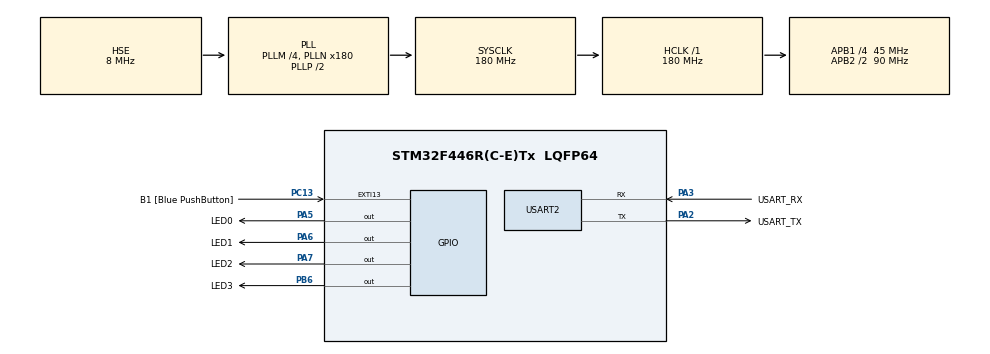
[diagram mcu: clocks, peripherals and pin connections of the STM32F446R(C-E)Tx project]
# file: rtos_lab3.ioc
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FREERTOS.INCLUDE_vTaskDelayUntil=1
FREERTOS.Tasks01=defaultTask,0,512,StartDefaultTask,Default,NULL,Dynamic,NULL,NULL
FREERTOS.configCHECK_FOR_STACK_OVERFLOW=2
FREERTOS.configENABLE_FPU=1
FREERTOS.configTOTAL_HEAP_SIZE=65536
FREERTOS.configUSE_IDLE_HOOK=1
FREERTOS.configUSE_NEWLIB_REENTRANT=1
FREERTOS.configUSE_POSIX_ERRNO=1
FREERTOS.configUSE_TICK_HOOK=1
Mcu.Family=STM32F4
Mcu.Name=STM32F446R(C-E)Tx
Mcu.Package=LQFP64
NVIC.EXTI15_10_IRQn=true\:5\:0\:false\:false\:true\:true\:true\:true\:true
NVIC.PriorityGroup=NVIC_PRIORITYGROUP_4
NVIC.TIM8_TRG_COM_TIM14_IRQn=true\:15\:0\:false\:false\:true\:false\:false\:true\:true
NVIC.TimeBase=TIM8_TRG_COM_TIM14_IRQn
NVIC.TimeBaseIP=TIM14
PA13.GPIO_Label=TMS
PA13.Mode=Trace_Asynchronous_SW
PA13.Signal=SYS_JTMS-SWDIO
PA14.GPIO_Label=TCK
PA14.Mode=Trace_Asynchronous_SW
PA14.Signal=SYS_JTCK-SWCLK
PA2.GPIO_Label=USART_TX
PA2.Mode=Asynchronous
PA2.Signal=USART2_TX
PA3.GPIO_Label=USART_RX
PA3.Mode=Asynchronous
PA3.Signal=USART2_RX
PA5.GPIO_Label=LED0
PA5.Signal=GPIO_Output
PA6.GPIO_Label=LED1
PA6.Signal=GPIO_Output
PA7.GPIO_Label=LED2
PA7.Signal=GPIO_Output
PB3.GPIO_Label=SWO
PB3.Mode=Trace_Asynchronous_SW
PB3.Signal=SYS_JTDO-SWO
PB6.GPIO_Label=LED3
PB6.Signal=GPIO_Output
PC13.GPIO_Label=B1 [Blue PushButton]
PC13.GPIO_ModeDefaultEXTI=GPIO_MODE_IT_FALLING
PC13.GPIO_PuPd=GPIO_PULLUP
PC13.Signal=GPXTI13
PC14-OSC32_IN.Mode=LSE-External-Oscillator
PC14-OSC32_IN.Signal=RCC_OSC32_IN
PC15-OSC32_OUT.Mode=LSE-External-Oscillator
PC15-OSC32_OUT.Signal=RCC_OSC32_OUT
PH0-OSC_IN.Mode=HSE-External-Oscillator
PH0-OSC_IN.Signal=RCC_OSC_IN
PH1-OSC_OUT.Mode=HSE-External-Oscillator
PH1-OSC_OUT.Signal=RCC_OSC_OUT
ProjectManager.HeapSize=0x200
ProjectManager.StackSize=0x400
ProjectManager.TargetToolchain=STM32CubeIDE
RCC.48MHZClocksFreq_Value=84000000
RCC.AHBFreq_Value=180000000
RCC.APB1CLKDivider=RCC_HCLK_DIV4
RCC.APB1Freq_Value=45000000
RCC.APB1TimFreq_Value=90000000
RCC.APB2CLKDivider=RCC_HCLK_DIV2
RCC.APB2Freq_Value=90000000
RCC.APB2TimFreq_Value=180000000
RCC.CortexFreq_Value=180000000
RCC.FLatency-AdvancedSettings=FLASH_LATENCY_5
RCC.HCLKFreq_Value=180000000
RCC.HSE_VALUE=8000000
RCC.HSI_VALUE=16000000
RCC.PLLM=4
RCC.PLLN=180
RCC.PLLSourceVirtual=RCC_PLLSOURCE_HSE
RCC.SYSCLKFreq_VALUE=180000000
RCC.SYSCLKSource=RCC_SYSCLKSOURCE_PLLCLK
RCC.USBFreq_Value=180000000
RCC.VCOOutputFreq_Value=360000000
USART2.VirtualMode=VM_ASYNC
VP_FREERTOS_VS_CMSIS_V1.Mode=CMSIS_V1
VP_SYS_VS_tim14.Mode=TIM14
board=NUCLEO-F446RE

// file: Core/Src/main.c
/* USER CODE BEGIN Header */
/**
  ******************************************************************************
  * @file           : main.c
  * @brief          : Main program body
  ******************************************************************************
  * @attention
  *
  * Copyright (c) 2026 STMicroelectronics.
  * All rights reserved.
  *
  * This software is licensed under terms that can be found in the LICENSE file
  * in the root directory of this software component.
  * If no LICENSE file comes with this software, it is provided AS-IS.
  *
  ******************************************************************************
  */
/* USER CODE END Header */
#include "main.h"
#include "cmsis_os.h"
#include "usart.h"
#include "gpio.h"

void SystemClock_Config(void);
void MX_FREERTOS_Init(void);

/* USER CODE BEGIN 0 */
int __io_putchar(int ch){
  HAL_UART_Transmit(&huart2, (uint8_t *)&ch, 1, 0xFFFF);
  return ch;
}

//int __io_putchar(int ch){
//  ITM_SendChar(ch);
//  return ch;
//}

/* USER CODE END 0 */

int main(void)
{

  /* MCU Configuration--------------------------------------------------------*/

  /* Reset of all peripherals, Initializes the Flash interface and the Systick. */
  HAL_Init();

  /* Configure the system clock */
  SystemClock_Config();

  /* Initialize all configured peripherals */
  MX_GPIO_Init();
  MX_USART2_UART_Init();

  /* Call init function for freertos objects (in cmsis_os2.c) */
  MX_FREERTOS_Init();

  /* Start scheduler */
  osKernelStart();

  /* We should never get here as control is now taken by the scheduler */

  /* Infinite loop */
  while (1)
  {

  }
}

void SystemClock_Config(void)
{
  RCC_OscInitTypeDef RCC_OscInitStruct = {0};
  RCC_ClkInitTypeDef RCC_ClkInitStruct = {0};

  /** Configure the main internal regulator output voltage
  */
  __HAL_RCC_PWR_CLK_ENABLE();
  __HAL_PWR_VOLTAGESCALING_CONFIG(PWR_REGULATOR_VOLTAGE_SCALE1);

  /** Initializes the RCC Oscillators according to the specified parameters
  * in the RCC_OscInitTypeDef structure.
  */
  RCC_OscInitStruct.OscillatorType = RCC_OSCILLATORTYPE_HSE;
  RCC_OscInitStruct.HSEState = RCC_HSE_ON;
  RCC_OscInitStruct.PLL.PLLState = RCC_PLL_ON;
  RCC_OscInitStruct.PLL.PLLSource = RCC_PLLSOURCE_HSE;
  RCC_OscInitStruct.PLL.PLLM = 4;
  RCC_OscInitStruct.PLL.PLLN = 180;
  RCC_OscInitStruct.PLL.PLLP = RCC_PLLP_DIV2;
  RCC_OscInitStruct.PLL.PLLQ = 2;
  RCC_OscInitStruct.PLL.PLLR = 2;
  if (HAL_RCC_OscConfig(&RCC_OscInitStruct) != HAL_OK)
  {
    Error_Handler();
  }

  /** Activate the Over-Drive mode
  */
  if (HAL_PWREx_EnableOverDrive() != HAL_OK)
  {
    Error_Handler();
  }

  /** Initializes the CPU, AHB and APB buses clocks
  */
  RCC_ClkInitStruct.ClockType = RCC_CLOCKTYPE_HCLK|RCC_CLOCKTYPE_SYSCLK
                              |RCC_CLOCKTYPE_PCLK1|RCC_CLOCKTYPE_PCLK2;
  RCC_ClkInitStruct.SYSCLKSource = RCC_SYSCLKSOURCE_PLLCLK;
  RCC_ClkInitStruct.AHBCLKDivider = RCC_SYSCLK_DIV1;
  RCC_ClkInitStruct.APB1CLKDivider = RCC_HCLK_DIV4;
  RCC_ClkInitStruct.APB2CLKDivider = RCC_HCLK_DIV2;

  if (HAL_RCC_ClockConfig(&RCC_ClkInitStruct, FLASH_LATENCY_5) != HAL_OK)
  {
    Error_Handler();
  }
}

void HAL_TIM_PeriodElapsedCallback(TIM_HandleTypeDef *htim)
{
  if (htim->Instance == TIM14)
  {
    HAL_IncTick();
  }
}

void Error_Handler(void)
{
  __disable_irq();
  while (1)
  {
  }
}

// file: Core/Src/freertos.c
/* USER CODE BEGIN Header */
/**
 ******************************************************************************
 * File Name          : freertos.c
 * Description        : Code for freertos applications
 ******************************************************************************
 * @attention
 *
 * Copyright (c) 2026 STMicroelectronics.
 * All rights reserved.
 *
 * This software is licensed under terms that can be found in the LICENSE file
 * in the root directory of this software component.
 * If no LICENSE file comes with this software, it is provided AS-IS.
 *
 ******************************************************************************
 */
/* USER CODE END Header */

#include "FreeRTOS.h"
#include "task.h"
#include "main.h"
#include "cmsis_os.h"

/* USER CODE BEGIN Includes */

#include <stdio.h>
#include <stdlib.h>

/* USER CODE END Includes */

osThreadId defaultTaskHandle;

/* USER CODE BEGIN FunctionPrototypes */
void StartCustomTask0(void const *argument);
void StartCustomTask1(void const *argument);
void StartCustomTask2(void const *argument);
void StartCustomTask3(void const *argument);
void StartCustomTask4(void const *argument);
/* USER CODE END FunctionPrototypes */

void StartDefaultTask(void const *argument);

void MX_FREERTOS_Init(void); /* (MISRA C 2004 rule 8.1) */

/* GetIdleTaskMemory prototype (linked to static allocation support) */
void vApplicationGetIdleTaskMemory(StaticTask_t **ppxIdleTaskTCBBuffer,
		StackType_t **ppxIdleTaskStackBuffer, uint32_t *pulIdleTaskStackSize);

/* Hook prototypes */
void vApplicationIdleHook(void);
void vApplicationTickHook(void);
void vApplicationStackOverflowHook(xTaskHandle xTask, signed char *pcTaskName);

/* USER CODE BEGIN 2 */
__weak void vApplicationIdleHook(void) {
	/* vApplicationIdleHook() will only be called if configUSE_IDLE_HOOK is set
	 to 1 in FreeRTOSConfig.h. It will be called on each iteration of the idle
	 task. It is essential that code added to this hook function never attempts
	 to block in any way (for example, call xQueueReceive() with a block time
	 specified, or call vTaskDelay()). If the application makes use of the
	 vTaskDelete() API function (as this demo application does) then it is also
	 important that vApplicationIdleHook() is permitted to return to its calling
	 function, because it is the responsibility of the idle task to clean up
	 memory allocated by the kernel to any task that has since been deleted. */
}
/* USER CODE END 2 */

/* USER CODE BEGIN 3 */
__weak void vApplicationTickHook(void) {
	/* This function will be called by each tick interrupt if
	 configUSE_TICK_HOOK is set to 1 in FreeRTOSConfig.h. User code can be
	 added here, but the tick hook is called from an interrupt context, so
	 code must not attempt to block, and only the interrupt safe FreeRTOS API
	 functions can be used (those that end in FromISR()). */
}
/* USER CODE END 3 */

/* USER CODE BEGIN 4 */
__weak void vApplicationStackOverflowHook(xTaskHandle xTask,
		signed char *pcTaskName) {
	/* Run time stack overflow checking is performed if
	 configCHECK_FOR_STACK_OVERFLOW is defined to 1 or 2. This hook function is
	 called if a stack overflow is detected. */
}
/* USER CODE END 4 */

/* USER CODE BEGIN GET_IDLE_TASK_MEMORY */
static StaticTask_t xIdleTaskTCBBuffer;
static StackType_t xIdleStack[configMINIMAL_STACK_SIZE];

void vApplicationGetIdleTaskMemory(StaticTask_t **ppxIdleTaskTCBBuffer,
		StackType_t **ppxIdleTaskStackBuffer, uint32_t *pulIdleTaskStackSize) {
	*ppxIdleTaskTCBBuffer = &xIdleTaskTCBBuffer;
	*ppxIdleTaskStackBuffer = &xIdleStack[0];
	*pulIdleTaskStackSize = configMINIMAL_STACK_SIZE;
	/* place for user code */
}
/* USER CODE END GET_IDLE_TASK_MEMORY */

void MX_FREERTOS_Init(void) {

	/* Create the thread(s) */
	/* definition and creation of defaultTask */
	osThreadDef(defaultTask, StartDefaultTask, osPriorityNormal, 0, 512);
	defaultTaskHandle = osThreadCreate(osThread(defaultTask), NULL);

	/* USER CODE BEGIN RTOS_THREADS */
	/* add threads, ... */
	BaseType_t xReturned;
	TaskHandle_t *customTaskHandle = (TaskHandle_t *)pvPortMalloc(5 * sizeof(TaskHandle_t));
	if(customTaskHandle == NULL){
		while(1);
	}

	xReturned = xTaskCreate((TaskFunction_t) StartCustomTask1, "c1",
	configMINIMAL_STACK_SIZE,
	NULL, 5, &customTaskHandle[1]);
	if (xReturned != pdPASS) {
		vTaskDelete(customTaskHandle[1]);
	}

	xReturned = xTaskCreate((TaskFunction_t) StartCustomTask2, "c2",
	configMINIMAL_STACK_SIZE,
	NULL, 5, &customTaskHandle[2]);
	if (xReturned != pdPASS) {
		vTaskDelete(customTaskHandle[2]);
	}

	xReturned = xTaskCreate((TaskFunction_t) StartCustomTask3, "c3",
	configMINIMAL_STACK_SIZE,
	NULL, 5, &customTaskHandle[3]);
	if (xReturned != pdPASS) {
		vTaskDelete(customTaskHandle[3]);
	}

	xReturned = xTaskCreate((TaskFunction_t) StartCustomTask4, "c4",
	configMINIMAL_STACK_SIZE,
	NULL, 5, &customTaskHandle[4]);
	if (xReturned != pdPASS) {
		vTaskDelete(customTaskHandle[4]);
	}

	xReturned = xTaskCreate((TaskFunction_t) StartCustomTask0, "c0",
	configMINIMAL_STACK_SIZE, customTaskHandle, 5, &customTaskHandle[0]);
	if (xReturned != pdPASS) {
		vTaskDelete(customTaskHandle[0]);
	}

	/* USER CODE END RTOS_THREADS */

}

void StartDefaultTask(void const *argument) {
	/* USER CODE BEGIN StartDefaultTask */
	/* Infinite loop */
	for (;;) {
//		osDelay(200);
//		HAL_GPIO_TogglePin(LED0_GPIO_Port, LED0_Pin);
	}
	/* USER CODE END StartDefaultTask */
}

/* USER CODE BEGIN Application */

void StartCustomTask0(void const *argument) {
	int j = 0, k = 0;
	int flag[4] = {0};
	TaskHandle_t *customTaskHandle = (TaskHandle_t *)argument;
	TickType_t xLastWakeTime = xTaskGetTickCount();

	for (;;) {
		k = rand() % 4;
		j = rand() % 10000 + 1;

		if(flag[k] == 1){
			vTaskSuspend(customTaskHandle[k+1]);
			flag[k] = 0;
		}
		else{
			vTaskResume(customTaskHandle[k+1]);
			flag[k] = 1;
		}

		printf("%d, %d \r\n", j, k);
		vTaskDelayUntil(&xLastWakeTime, j);
	}
}

void StartCustomTask1(void const *argument) {
	for (;;) {
		osDelay(400);
		HAL_GPIO_TogglePin(LED0_GPIO_Port, LED0_Pin);
	}
}

void StartCustomTask2(void const *argument) {
	for (;;) {
		osDelay(600);
		HAL_GPIO_TogglePin(LED1_GPIO_Port, LED1_Pin);
	}
}

void StartCustomTask3(void const *argument) {
	for (;;) {
		osDelay(800);
		HAL_GPIO_TogglePin(LED2_GPIO_Port, LED2_Pin);
	}
}

void StartCustomTask4(void const *argument) {
	for (;;) {
		osDelay(1600);
		HAL_GPIO_TogglePin(LED3_GPIO_Port, LED3_Pin);
	}
}

/* USER CODE END Application */
